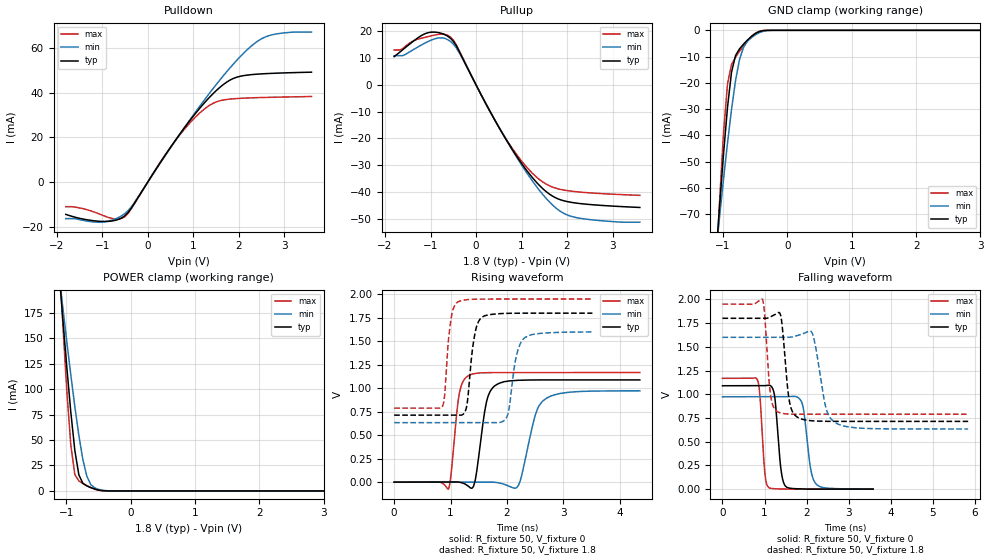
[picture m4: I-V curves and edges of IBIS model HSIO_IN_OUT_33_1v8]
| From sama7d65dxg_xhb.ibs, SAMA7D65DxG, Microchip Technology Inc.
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|   Model   HSIO_IN_OUT_33
[Model] HSIO_IN_OUT_33_1v8
Model_type I/O
Enable   Active-High
Vinl  =  0.54
Vinh  =  1.26
Vmeas =  0.900
| Capacitance   typ   min   max
C_comp   1.177640254581743e-12   1.127359926907533e-12   1.248152577014627e-12
| Variables   typ   min   max
[GND Clamp Reference]   0   0   0
[POWER Clamp Reference]   1.8   1.6   1.95
[Pulldown Reference]   0   0   0
[Pullup Reference]   1.8   1.6   1.95
[Temperature Range]   25   125   -40
[Voltage Range]   1.8   1.6   1.95
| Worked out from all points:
|   slope of the pulldown table from 0 to 0.27 V, typ, clamps not added: 31.5 ohm
|   slope of the pullup table from 0 to 0.27 V, typ, clamps not added: 30.9 ohm
|   GND clamp passes 1 mA (typ) near -0.48 V on its own axis
|   POWER clamp passes 1 mA (typ) near -0.51 V on its own axis
|   falling waveform, R_fixture 50, V_fixture 0: 20-80 % time 122ps typ, 158ps min, 95.5ps max; typ from 1.09 V to 0.001 V
|   falling waveform, R_fixture 50, V_fixture 1.8: 20-80 % time 140ps typ, 230ps min, 112ps max; typ from 1.8 V to 0.714 V
|   rising waveform, R_fixture 50, V_fixture 0: 20-80 % time 157ps typ, 234ps min, 119ps max; typ from 0 V to 1.09 V
|   rising waveform, R_fixture 50, V_fixture 1.8: 20-80 % time 119ps typ, 145ps min, 96.5ps max; typ from 0.713 V to 1.8 V
[GND Clamp]
| Voltage   I(typ)   I(min)   I(max)
-1.8V     -342.3mA   -209.2mA   -383.3mA
-1.117V   -88.39mA   -86.15mA   -95.55mA
-1.055V   -67.21mA   -71.19mA   -65.5mA
-993.1mV  -47.19mA   -56.68mA   -39.13mA
-931mV    -29.34mA   -42.9mA    -20.4mA
-869mV    -16.01mA   -30.18mA   -13.03mA
-806.9mV  -9.618mA   -19.22mA   -10.3mA
-744.8mV  -7.072mA   -11.14mA   -8.013mA
-682.8mV  -5.281mA   -6.497mA   -5.883mA
-496.6mV  -1.194mA   -1.68mA    -1.075mA
-248.3mV  -1.216uA   -21.25uA   -194.8nA
3.6V      0A         0A         0A
[POWER Clamp]
| Voltage   I(typ)   I(min)   I(max)
-1.8V     802.5mA    491.9mA    900.5mA
-1.117V   217.9mA    214.2mA    234.3mA
-1.055V   168.5mA    179.8mA    163.3mA
-993.1mV  121.1mA    146.2mA    97.87mA
-931mV    77.14mA    113.8mA    44.82mA
-869mV    39.81mA    82.91mA    16.05mA
-806.9mV  15.88mA    54.71mA    9.814mA
-744.8mV  7.567mA    31.01mA    7.329mA
-682.8mV  4.949mA    14.52mA    5.17mA
-558.6mV  1.852mA    2.929mA    1.709mA
-372.4mV  33.21uA    209.1uA    14.39uA
3.6V      0A         0A         0A
[Pulldown]
| Voltage   I(typ)   I(min)   I(max)
-1.8V     -14.42mA   -16.28mA   -10.96mA
-993.1mV  -17.55mA   -17.84mA   -14.8mA
-682.8mV  -16.91mA   -16.21mA   -16.54mA
-496.6mV  -14.93mA   -13.93mA   -15.31mA
-310.3mV  -10.05mA   -9.638mA   -10.29mA
620.7mV   19.08mA    18.93mA    18.9mA
993.1mV   29.29mA    29.74mA    27.95mA
1.366V    38.12mA    39.98mA    34.44mA
1.862V    46.21mA    52.37mA    37.26mA
2.483V    48.41mA    63.93mA    37.85mA
2.917V    48.82mA    66.57mA    38.05mA
3.6V      49.2mA     67.13mA    38.32mA
[Pullup]
| Voltage   I(typ)   I(min)   I(max)
-1.8V     10.54mA    10.91mA    13.01mA
-1.614V   13.09mA    10.91mA    13.54mA
-1.117V   19.14mA    15.66mA    17.78mA
-806.9mV  19.45mA    17.56mA    18.91mA
-620.7mV  18.15mA    16.89mA    18.49mA
-372.4mV  12.64mA    12.15mA    12.88mA
620.7mV   -19.28mA   -19.27mA   -19.11mA
993.1mV   -29.13mA   -29.69mA   -28.27mA
1.366V    -37.06mA   -38.77mA   -34.97mA
1.738V    -42.07mA   -45.72mA   -38.51mA
2.048V    -43.74mA   -48.87mA   -39.59mA
3.6V      -45.78mA   -51.28mA   -41.26mA
[Ramp]
dV/dt_r   0.653773/0.156852n  0.583802/0.233953n  0.70051/0.119227n
dV/dt_f   0.65191/0.139883n  0.579682/0.229647n  0.697003/0.111947n
R_load = 50
[Falling Waveform]
R_fixture = 50
V_fixture = 0
V_fixture_min = 0
V_fixture_max = 0
| Time   V(typ)   V(min)   V(max)
0s        1.09V      973mV      1.168V
830.1ps   1.09V      973.5mV    1.151V
1.012ns   1.091V     973.6mV    147.9mV
1.104ns   1.094V     973.7mV    16.38mV
1.235ns   992mV      973.8mV    5.086mV
1.383ns   234.1mV    973.9mV    2.029mV
1.496ns   32.31mV    973.9mV    1.169mV
1.897ns   2.476mV    898.3mV    262.2uV
2.231ns   989.4uV    51.81mV    253.9uV
3.581ns   985.6uV    528.8uV    252.9uV
[Falling Waveform]
R_fixture = 50
V_fixture = 1.8
V_fixture_min = 1.6
V_fixture_max = 1.95
| Time   V(typ)   V(min)   V(max)
0s        1.8V       1.6V       1.95V
951.5ps   1.799V     1.599V     1.997V
1.134ns   1.814V     1.599V     1.021V
1.329ns   1.861V     1.599V     811.2mV
1.591ns   923.1mV    1.6V       791mV
1.795ns   754.3mV    1.62V      789.3mV
2.136ns   720.3mV    1.64V      789.3mV
2.445ns   715.1mV    881.1mV    789.3mV
2.705ns   714.1mV    694.5mV    789.3mV
5.838ns   714.1mV    634mV      789.3mV
[Rising Waveform]
R_fixture = 50
V_fixture = 0
V_fixture_min = 0
V_fixture_max = 0
| Time   V(typ)   V(min)   V(max)
0s        1.02nV     180.2nV    -2.783pV
963.2ps   590.4uV    396.7uV    -71.73mV
1.159ns   -314uV     477.3uV    952.3mV
1.321ns   -45.45mV   543.9uV    1.135V
1.429ns   -5.055mV   588.4uV    1.156V
1.656ns   895.6mV    958.5uV    1.166V
1.822ns   1.041V     -4.15mV    1.166V
2.203ns   1.085V     -36.79mV   1.167V
2.692ns   1.089V     889.5mV    1.167V
4.357ns   1.089V     972.6mV    1.167V
[Rising Waveform]
R_fixture = 50
V_fixture = 1.8
V_fixture_min = 1.6
V_fixture_max = 1.95
| Time   V(typ)   V(min)   V(max)
0s        713.5mV    633.9mV    788.3mV
852.2ps   713mV      633.7mV    801.9mV
1.014ns   712.9mV    633.6mV    1.755V
1.139ns   712.2mV    633.6mV    1.922V
1.284ns   797.6mV    633.6mV    1.943V
1.412ns   1.512V     633.5mV    1.948V
1.548ns   1.752V     633.5mV    1.949V
1.999ns   1.797V     692.7mV    1.95V
2.317ns   1.799V     1.538V     1.95V
3.516ns   1.799V     1.599V     1.95V
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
